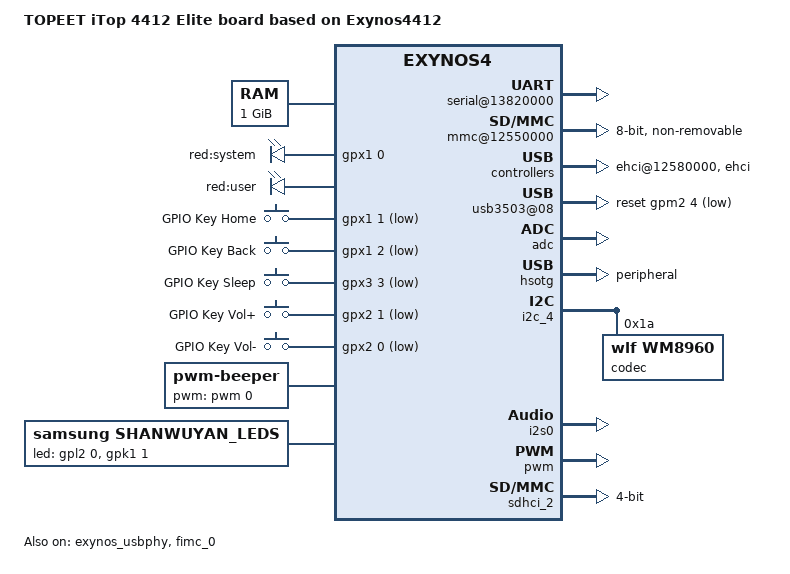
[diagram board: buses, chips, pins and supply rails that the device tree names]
/*
 * TOPEET's Exynos4412 based itop board device tree source
 *
 * Copyright (c) 2016 SUMOMO Computer Association
 *			https://www.sumomo.mobi
 *			Randy Li <ayaka@soulik.info>
 *
 * Device tree source file for TOPEET iTop Exynos 4412 core board
 * which is based on Samsung's Exynos4412 SoC.
 *
 * This program is free software; you can redistribute it and/or modify
 * it under the terms of the GNU General Public License version 2 as
 * published by the Free Software Foundation.
 */

/dts-v1/;
#include <dt-bindings/pwm/pwm.h>
#include <dt-bindings/sound/samsung-i2s.h>
#include "exynos4412-itop-scp-core.dtsi"

#include <dt-bindings/gpio/gpio.h>
#include <dt-bindings/input/input.h>
/ {
	model = "TOPEET iTop 4412 Elite board based on Exynos4412";
	compatible = "topeet,itop4412-elite", "samsung,exynos4412", "samsung,exynos4";

	chosen {
		bootargs = "root=/dev/mmcblk0p2 rw rootfstype=ext4 rootdelay=1 rootwait";
		stdout-path = "serial2:115200n8";
	};

	memory {
                reg = <0x40000000 0x40000000>;
        };

	leds {
		compatible = "gpio-leds";

		led2 {
			label = "red:system";
			gpios = <&gpx1 0 GPIO_ACTIVE_HIGH>;
			default-state = "off";
			linux,default-trigger = "heartbeat";
		};

		led3 {
			label = "red:user";
		//	gpios = <&gpk1 1 GPIO_ACTIVE_HIGH>;
			default-state = "off";
		};
	};

	gpio-keys {
		compatible = "gpio-keys";

		home {
			label = "GPIO Key Home";
			linux,code = <KEY_HOME>;
			gpios = <&gpx1 1 GPIO_ACTIVE_LOW>;	//modified by shanwuyan
		};

		back {
			label = "GPIO Key Back";
			linux,code = <KEY_BACK>;
			gpios = <&gpx1 2 GPIO_ACTIVE_LOW>;
		};

		sleep {
			label = "GPIO Key Sleep";
			linux,code = <KEY_POWER>;
			gpios = <&gpx3 3 GPIO_ACTIVE_LOW>;
		};

		vol-up {
			label = "GPIO Key Vol+";
			linux,code = <KEY_UP>;
			gpios = <&gpx2 1 GPIO_ACTIVE_LOW>;
		};

		vol-down {
			label = "GPIO Key Vol-";
			linux,code = <KEY_DOWN>;
			gpios = <&gpx2 0 GPIO_ACTIVE_LOW>;
		};
	};

	sound {
		compatible = "simple-audio-card";
		simple-audio-card,name = "wm-sound";

		simple-audio-card,format = "i2s";
		simple-audio-card,bitclock-master = <&link0_codec>;
		simple-audio-card,frame-master = <&link0_codec>;

		simple-audio-card,widgets =
			"Microphone", "Mic Jack",
			"Line", "Line In",
			"Line", "Line Out",
			"Speaker", "Speaker",
			"Headphone", "Headphone Jack";
		simple-audio-card,routing =
			"Headphone Jack", "HP_L",
			"Headphone Jack", "HP_R",
			"Speaker", "SPK_LP",
			"Speaker", "SPK_LN",
			"Speaker", "SPK_RP",
			"Speaker", "SPK_RN",
			"LINPUT1", "Mic Jack",
			"LINPUT3", "Mic Jack",
			"RINPUT1", "Mic Jack",
			"RINPUT2", "Mic Jack";

		simple-audio-card,cpu {
			sound-dai = <&i2s0 0>;
		};

		link0_codec: simple-audio-card,codec {
			sound-dai = <&codec>;
			clocks = <&i2s0 CLK_I2S_CDCLK>;
			system-clock-frequency = <11289600>;
		};
	};

	beep {
		compatible = "pwm-beeper";
		pwms = <&pwm 0 4000000 PWM_POLARITY_INVERTED>;
	};

	camera: camera {
		pinctrl-0 = <&cam_port_a_clk_active>;
		pinctrl-names = "default";
		status = "okay";
		assigned-clocks = <&clock CLK_MOUT_CAM0>;
		assigned-clock-parents = <&clock CLK_XUSBXTI>;
	};
	serial@13800000 {
                status = "diable";
        };

        serial@13810000 {
                status = "disable";
        };

        serial@13820000 {
                status = "okay";
        };

        serial@13830000 {
                status = "disable";
        };

	fixed-rate-clocks {
                xxti {
                        compatible = "samsung,clock-xxti";
                        clock-frequency = <0>;
                };

                xusbxti {
                        compatible = "samsung,clock-xusbxti";
                        clock-frequency = <24000000>;
                };
        };

	mmc@12550000 {
                num-slots = <1>;
                broken-cd;
                non-removable;
                card-detect-delay = <200>;
                clock-frequency = <400000000>;
                samsung,dw-mshc-ciu-div = <0>;
                samsung,dw-mshc-sdr-timing = <2 3>;
                samsung,dw-mshc-ddr-timing = <1 2>;
                pinctrl-0 = <&sd4_clk &sd4_cmd &sd4_bus4 &sd4_bus8>;
                pinctrl-names = "default";
                status = "okay";
                bus-width = <8>;
                cap-mmc-highspeed;
        };
	usbphy:usbphy@125B0000{
	#address-cells=<1>;
	#size-cells=<1>;
	   compatible="samsung,exynos4x12-usb2phy";
	   reg=<0x125B0000 0x100>;
	   ranges;

	   clocks=<&clock 2>,<&clock 305>;
	   clock-names="xusbxti","otg";

	   usbphy-sys{
			reg=<0x10020704 0x8 0x1001021c 0x4>;
	   };
	};
	ehci@12580000{
		status="okay";
		usbphy=<&usbphy>;
	};
	usb3503@08{
		compatible="smsc,usb3503";
		reg=<0x08 0x4>;
		connect-gpios=<&gpm3 3 1>;
		intn-gpios=<&gpx2 3 1>;
		reset-gpios=<&gpm2 4 1>;
		initial-mode=<1>;
	};
	
	/*modified by shanwuyan*/
	shanwuyan_leds{
		compatible = "samsung,shanwuyan_leds";
		pinctrl-names = "default";
		pinctrl-0 = <&pinctrl_shanwuyan_leds>;
		led-gpios = <&gpl2 0 GPIO_ACTIVE_HIGH>,<&gpk1 1 GPIO_ACTIVE_HIGH>;
		status = "okay";
	};
	
};

&adc {
	/*vdd-supply = <&ldo3_reg>;*/
	status = "okay";
};

&clock_audss {
	assigned-clocks = <&clock_audss EXYNOS_MOUT_AUDSS>,
			<&clock_audss EXYNOS_MOUT_I2S>,
			<&clock_audss EXYNOS_DOUT_SRP>,
			<&clock_audss EXYNOS_DOUT_AUD_BUS>;
	assigned-clock-parents = <&clock CLK_FOUT_EPLL>,
			<&clock_audss EXYNOS_MOUT_AUDSS>;
	assigned-clock-rates = <0>, <0>, <112896000>, <11289600>;
};

&ehci {
	status = "okay";
	/* In order to reset USB ethernet */
	samsung,vbus-gpio = <&gpc0 1 GPIO_ACTIVE_HIGH>;

	port@0 {
		status = "okay";
	};

	port@2 {
		status = "okay";
	};
};

&exynos_usbphy {
	status = "okay";
};

&fimc_0 {
	status = "okay";
	assigned-clocks = <&clock CLK_MOUT_FIMC0>,
			<&clock CLK_SCLK_FIMC0>;
	assigned-clock-parents = <&clock CLK_MOUT_MPLL_USER_T>;
	assigned-clock-rates = <0>, <176000000>;
};

&hsotg {
	dr_mode = "peripheral";
	status = "okay";
};

&i2c_4 {
	samsung,i2c-sda-delay = <100>;
	samsung,i2c-slave-addr = <0x10>;
	samsung,i2c-max-bus-freq = <100000>;
	pinctrl-0 = <&i2c4_bus>;
	pinctrl-names = "default";
	status = "okay";

	codec: wm8960@1a {
		compatible = "wlf,wm8960";
		reg = <0x1a>;
		clocks = <&pmu_system_controller 0>;
		clock-names = "MCLK1";
		wlf,shared-lrclk;
		#sound-dai-cells = <0>;
	};
};

&i2s0 {
	pinctrl-0 = <&i2s0_bus>;
	pinctrl-names = "default";
	status = "okay";
};

&pinctrl_1 {
	ether-reset {
		samsung,pins = "gpc0-1";
		samsung,pin-function = <EXYNOS_PIN_FUNC_INPUT>;
		samsung,pin-pud = <EXYNOS_PIN_PULL_NONE>;
		samsung,pin-drv = <EXYNOS4_PIN_DRV_LV1>;
	};
};

&pwm {
	status = "okay";
	pinctrl-0 = <&pwm0_out>;
	pinctrl-names = "default";
	samsung,pwm-outputs = <0>;
};

&sdhci_2 {
	bus-width = <4>;
	pinctrl-0 = <&sd2_clk &sd2_cmd &sd2_bus4>;
	pinctrl-names = "default";
	cd-gpio = <&gpx0 7 GPIO_ACTIVE_LOW>;
	cap-sd-highspeed;
	/*vmmc-supply = <&ldo23_reg>;
	vqmmc-supply = <&ldo17_reg>;*/
	status = "okay";
};

